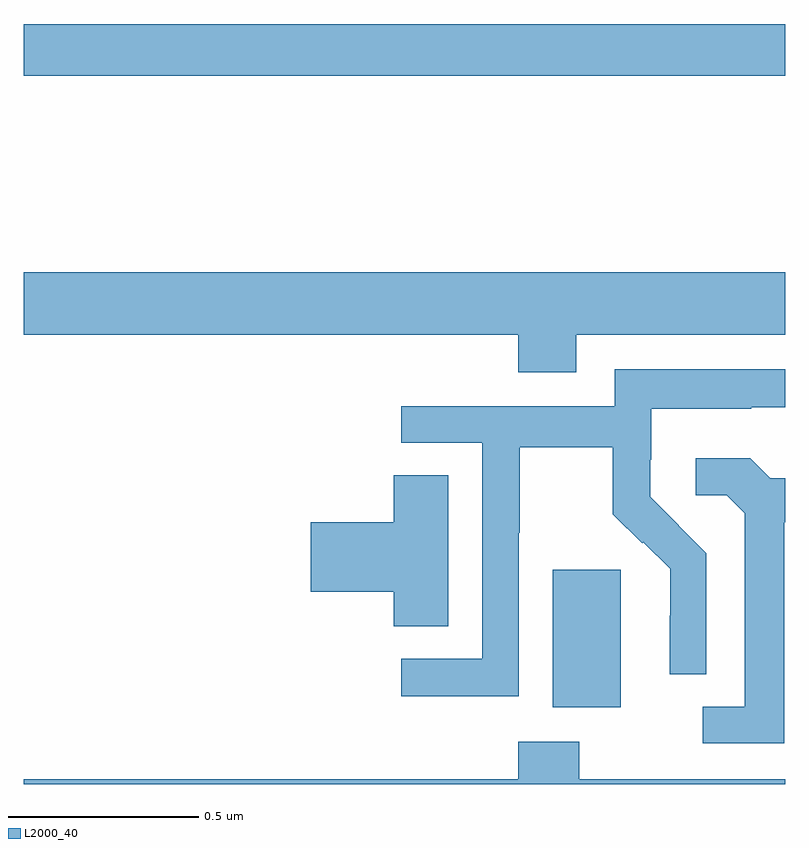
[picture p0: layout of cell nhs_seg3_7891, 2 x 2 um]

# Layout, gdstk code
import gdstk
lib = gdstk.Library(unit=1e-6, precision=1e-09)
def R(c, l, rs):  # rectangles x0, y0, x1, y1
    for r in rs: c.add(gdstk.rectangle(r[:2], r[2:], *l))
def P(c, l, *ps):  # polygons
    for p in ps: c.add(gdstk.Polygon(p, *l))
L2000_40 = (2000, 40)

nhs_seg3_7891 = lib.new_cell('nhs_seg3_7891')
R(nhs_seg3_7891, L2000_40, [(210.389,702.602,210.568,702.963), (209,704.26,211,704.396)])
P(nhs_seg3_7891, L2000_40, [(210.451,703.58),(211,703.58),(211,703.744),(209,703.744),(209,703.58),(210.299,703.58),(210.299,703.481),(210.451,703.481)],
  [(210.3,703.06),(210.303,703.06),(210.303,703.284),(210.547,703.284),(210.547,703.109),(210.624,703.032),(210.627,703.035),(210.698,702.965),(210.698,702.842),(210.696,702.842),(210.696,702.688),(210.792,702.688),(210.792,703.006),(210.719,703.079),(210.72,703.08),(210.646,703.154),(210.646,703.251),(210.648,703.251),(210.648,703.385),(210.911,703.385),(210.911,703.389),(211,703.389),(211,703.489),(210.552,703.489),(210.552,703.392),(209.991,703.392),(209.991,703.296),(210.204,703.296),(210.204,702.729),(209.991,702.729),(209.991,702.631),(210.3,702.631)],
  [(210.997,703.088),(211,703.088),(211,703.203),(210.96,703.203),(210.908,703.255),(210.765,703.255),(210.765,703.158),(210.846,703.158),(210.893,703.111),(210.893,702.603),(210.783,702.603),(210.783,702.507),(210.997,702.507)],
  [(210.115,703.211),(209.972,703.211),(209.972,703.088),(209.754,703.088),(209.754,702.905),(209.972,702.905),(209.972,702.814),(210.115,702.814)],
  [(211,702.412),(210.459,702.412),(210.459,702.511),(210.299,702.511),(210.299,702.412),(209,702.412),(209,702.4),(211,702.4)])

lib.write_gds('nhs_seg3_7891.gds')
